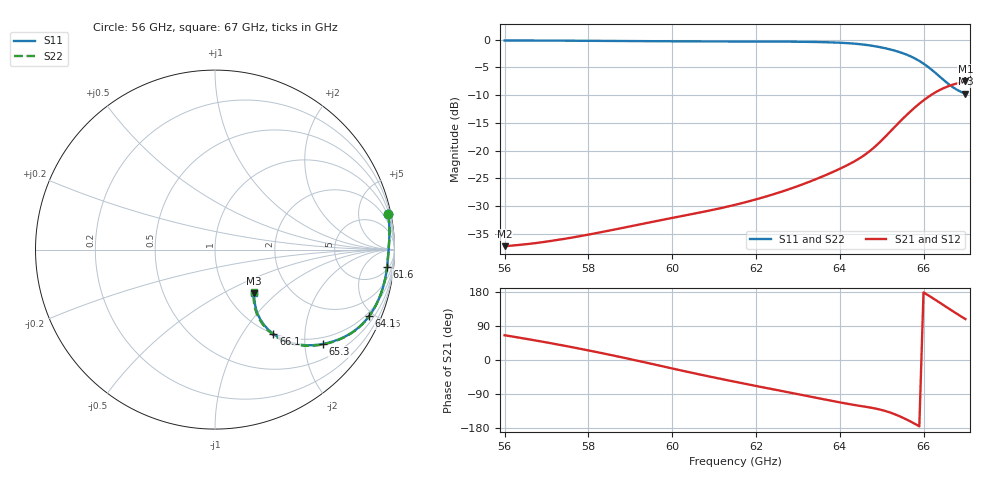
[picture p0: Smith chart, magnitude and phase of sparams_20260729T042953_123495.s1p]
! Touchstone file exported from HFSS 2023.2.0
!  File:  C:/Users/Gongzhui/Documents/Projects/hfss-mcp/benchmark/cases/siw_feed_l1/runs/run_probe_main/app_data/workspace/runs/run_probe_main/work/siw_feed_l1_sandbox.aedt
!  Generated:  12:29:53 %x4E0B%x5348  7%x6708 29, 2026
!  Design:  SIW Feed Structure
!  Project:  siw_feed_l1_sandbox
!  Setup:  Setup1
!  Solution:  Sweep
! Variables:
!  Ty = 2.5mm
!  cd = 0.75mm
!  cx = 7.9mm
!  cy = 7.9mm
!  fl = 0.315mm
!  fw = 1.05mm
!  fx = 2.6516mm
!  fy = 2.0646mm
!  gap = 0.18mm
!  gx = 15.65mm
!  gy = 13mm
!  hsub = 0.787mm
!  lWG = 3.875mm
!  offset = 0.04mm
!  pl = 1.4mm
!  pw = 0.6mm
!  t1 = 0.2502mm
!  t2 = 0.2mm
!  vd = 0.3mm
!  vs = 0.58mm
!  wWG = 4.4292mm
# GHz S MA R 50.000000
! Terminal data exported
! Port[1] = 1
! Port[2] = 2
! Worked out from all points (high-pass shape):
!   111 points, 56 GHz to 67 GHz, reference 50 ohm
!   highest |S21| = -7.52 dB at 67 GHz (marker M1); lowest = -37.2 dB at 56 GHz (marker M2)
!   |S21| within 3 dB of the highest: 66.08 GHz to end of sweep
!   lowest |S11| = -9.7 dB at 67 GHz (marker M3), VSWR 1.97, Z = 66.7 - j36.2 ohm
!   |S11| at or under -10 dB: nowhere
!   |S22| runs from -9.9 to -0.1 dB; largest |S21 - S12| = 7e-15
!   S11 on the Smith chart (normalised r, x): 56 GHz: 0.79, +9.89; 61.6 GHz: 6, -17; 64.1 GHz: 0.80, -4.69; 65.3 GHz: 0.83, -2.42; 66.1 GHz: 0.99, -1.39; 67 GHz: 1.33, -0.72
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56  0.9843 11.5  0.01377 65.3  0.01377 65.3  0.9843 11.5
56.9  0.9818 9.0  0.01496 48.4  0.01496 48.4  0.9818 9.0
57.9  0.9776 6.3  0.01723 27.6  0.01723 27.6  0.9776 6.3
59.7  0.9687 1.0  0.02351 -14.9  0.02351 -14.9  0.9687 1.0
61.5  0.9636 -5.3  0.03249 -57.4  0.03249 -57.4  0.9637 -5.3
61.6  0.9635 -5.8  0.03319 -59.6  0.03319 -59.6  0.9636 -5.8
62.5  0.9614 -10.3  0.04136 -79.3  0.04136 -79.3  0.9615 -10.3
63.4  0.9536 -16.6  0.05473 -98.8  0.05473 -98.8  0.9537 -16.6
64.1  0.9347 -23.4  0.0715 -113.8  0.0715 -113.8  0.9351 -23.4
64.4  0.9174 -27.2  0.08208 -119.6  0.08208 -119.6  0.9182 -27.2
64.7  0.8901 -31.5  0.0979 -125.0  0.0979 -125.0  0.8913 -31.5
64.9  0.8651 -34.5  0.1137 -129.2  0.1137 -129.2  0.8667 -34.5
65.2  0.8179 -39.4  0.1477 -138.5  0.1477 -138.5  0.8197 -39.5
65.3  0.7994 -41.1  0.1617 -142.5  0.1617 -142.5  0.8011 -41.2
65.5  0.7571 -44.7  0.1929 -152.0  0.1929 -152.0  0.7585 -44.9
65.7  0.7056 -48.5  0.2277 -162.9  0.2277 -162.9  0.7064 -48.8
65.9  0.6436 -52.3  0.2649 -175.1  0.2649 -175.1  0.6434 -52.6
66.1  0.572 -55.3  0.3026 171.6  0.3026 171.6  0.5708 -55.8
66.3  0.4967 -57.0  0.338 157.6  0.338 157.6  0.4941 -57.5
66.5  0.4271 -56.4  0.3688 143.2  0.3688 143.2  0.4232 -56.8
66.7  0.3731 -53.5  0.3935 128.8  0.3935 128.8  0.3681 -53.8
67  0.3261 -48.0  0.4206 107.9  0.4206 107.9  0.3205 -47.8
